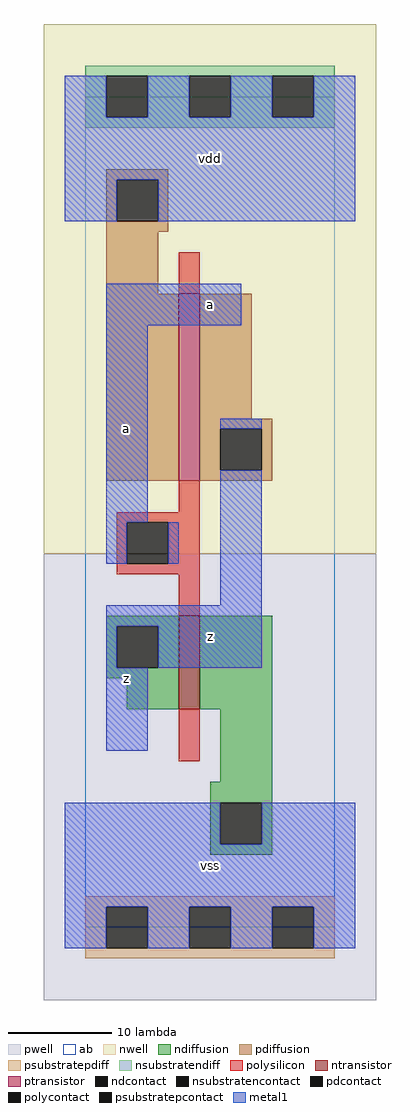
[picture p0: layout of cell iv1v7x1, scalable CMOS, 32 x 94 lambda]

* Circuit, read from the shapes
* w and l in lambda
.subckt iv1v7x1 a vdd vss z
M1 vss a z vss nfet w=9 l=2
M2 z a vdd vdd pfet w=18 l=2
.ends

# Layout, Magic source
magic
tech scmos
<< ab >>
rect 0 0 24 80
<< pwell >>
rect -4 -7 28 36
<< nwell >>
rect -4 36 28 87
<< polysilicon >>
rect 9 61 11 65
rect 9 40 11 43
rect 3 39 11 40
rect 3 35 4 39
rect 8 35 11 39
rect 3 34 11 35
rect 9 30 11 34
rect 9 16 11 21
<< ndiffusion >>
rect 2 29 9 30
rect 2 25 3 29
rect 7 25 9 29
rect 2 24 9 25
rect 4 21 9 24
rect 11 21 18 30
rect 13 14 18 21
rect 12 12 18 14
rect 12 8 13 12
rect 17 8 18 12
rect 12 7 18 8
<< pdiffusion >>
rect 2 72 8 73
rect 2 68 3 72
rect 7 68 8 72
rect 2 67 8 68
rect 2 61 7 67
rect 2 43 9 61
rect 11 49 16 61
rect 11 48 18 49
rect 11 44 13 48
rect 17 44 18 48
rect 11 43 18 44
<< metal1 >>
rect -2 78 2 82
rect 6 78 10 82
rect 14 78 18 82
rect 22 78 26 82
rect -2 72 26 78
rect -2 68 3 72
rect 7 68 26 72
rect 2 58 15 62
rect 2 39 6 58
rect 13 48 17 49
rect 2 35 4 39
rect 8 35 9 39
rect 13 31 17 44
rect 2 29 17 31
rect 2 25 3 29
rect 7 25 17 29
rect 2 17 6 25
rect -2 8 13 12
rect 17 8 26 12
rect -2 2 26 8
rect -2 -2 2 2
rect 6 -2 10 2
rect 14 -2 18 2
rect 22 -2 26 2
<< ntransistor >>
rect 9 21 11 30
<< ptransistor >>
rect 9 43 11 61
<< polycontact >>
rect 4 35 8 39
<< ndcontact >>
rect 3 25 7 29
rect 13 8 17 12
<< pdcontact >>
rect 3 68 7 72
rect 13 44 17 48
<< psubstratepcontact >>
rect 2 -2 6 2
rect 10 -2 14 2
rect 18 -2 22 2
<< nsubstratencontact >>
rect 2 78 6 82
rect 10 78 14 82
rect 18 78 22 82
<< psubstratepdiff >>
rect 0 2 24 3
rect 0 -2 2 2
rect 6 -2 10 2
rect 14 -2 18 2
rect 22 -2 24 2
rect 0 -3 24 -2
<< nsubstratendiff >>
rect 0 82 24 83
rect 0 78 2 82
rect 6 78 10 82
rect 14 78 18 82
rect 22 78 24 82
rect 0 77 24 78
<< labels >>
rlabel metal1 4 24 4 24 6 z
rlabel metal1 4 48 4 48 6 a
rlabel metal1 12 6 12 6 6 vss
rlabel metal1 12 28 12 28 6 z
rlabel metal1 12 60 12 60 6 a
rlabel metal1 12 74 12 74 6 vdd
<< end >>
